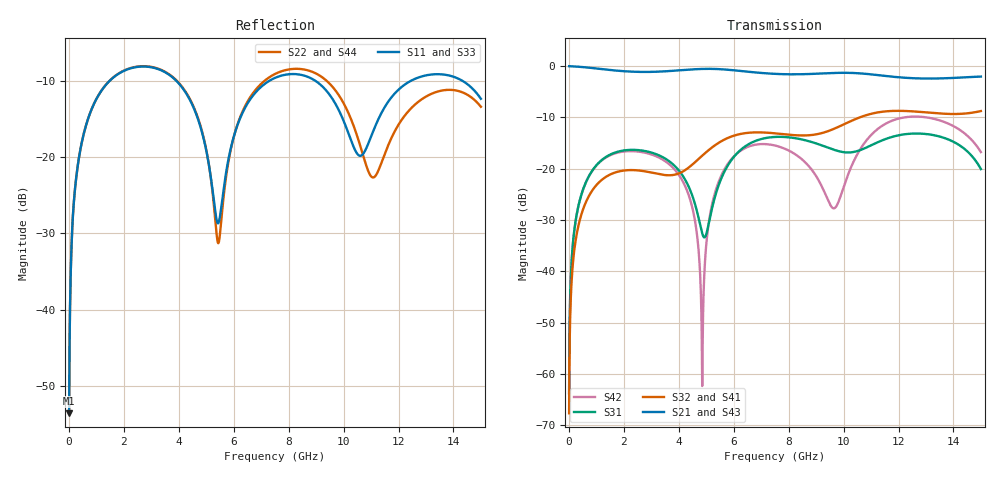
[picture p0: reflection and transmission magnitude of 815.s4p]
! Created with skrf 1.8.0 (http://scikit-rf.org).
# GHz S RI R 50.0
!freq ReS11 ImS11 ReS12 ImS12 ReS13 ImS13
! ReS14 ImS14
! ReS21 ImS21 ReS22 ImS22 ReS23 ImS23
! ReS24 ImS24
! ReS31 ImS31 ReS32 ImS32 ReS33 ImS33
! ReS34 ImS34
! ReS41 ImS41 ReS42 ImS42 ReS43 ImS43
! ReS44 ImS44
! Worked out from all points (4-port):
!   2499 points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, 5 MHz to 15 GHz, reference 50 ohm
!   strongest paths, dB at 5 MHz, 3.476 GHz, 7.19 GHz, 11.1 GHz, 15 GHz:
!     S21: 0.0, -1.0, -1.4, -1.7, -2.0
!     S43: 0.0, -1.0, -1.4, -1.7, -2.0
!     S32: -67.7, -21.2, -13.0, -9.2, -8.8
!     S41: -67.7, -21.3, -13.0, -9.2, -8.8
!     S31: -63.8, -17.9, -14.0, -15.2, -20.1
!     S42: -63.8, -18.4, -15.2, -12.9, -16.8
!   lowest |S11| = -53.6 dB at 5 MHz (marker M1), VSWR 1.00, Z = 50.2 + j0.126 ohm
!   |S11| at or under -10 dB: start of sweep to 1.469 GHz; 3.921 GHz to 7.276 GHz (3.354 GHz wide, 59.9 % of centre); 8.991 GHz to 12.43 GHz (3.437 GHz wide, 32.1 % of centre) (the widest 3 of 4)
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0.005  0.00165 0.00126  0.9983 -0.00322  8.27e-05 0.000641  -8.03e-05 -0.000404
       0.9983 -0.00322  0.00165 0.00126  -8.03e-05 -0.000404  8.25e-05 0.000641
       8.27e-05 0.000641  -8.03e-05 -0.000404  0.00165 0.00126  0.9983 -0.00322
       -8.03e-05 -0.000404  8.25e-05 0.000641  0.9983 -0.00322  0.00165 0.00126
0.3126303  0.0244 0.0828  0.9667 -0.2004  0.0112 0.0379  -0.00915 -0.0237
           0.9667 -0.2004  0.0244 0.0828  -0.00916 -0.0237  0.0107 0.0381
           0.0112 0.0379  -0.00916 -0.0237  0.0244 0.0828  0.9667 -0.2004
           -0.00915 -0.0237  0.0107 0.0381  0.9667 -0.2004  0.0245 0.0828
1.519383  0.2665 0.1818  0.5568 -0.7258  0.1262 0.0558  -0.0878 -0.00774
          0.5568 -0.7258  0.2686 0.1805  -0.0879 -0.00756  0.1196 0.0645
          0.1262 0.0558  -0.0879 -0.00756  0.2665 0.1819  0.5568 -0.7258
          -0.0878 -0.00774  0.1196 0.0645  0.5568 -0.7258  0.2687 0.1805
4.852022  0.0773 -0.1218  -0.858 -0.3796  -0.0199 -0.0123  -0.0513 0.1236
          -0.858 -0.3796  0.0694 -0.1289  -0.0488 0.1246  -0.000696 -0.000306
          -0.0199 -0.0123  -0.0488 0.1246  0.0782 -0.1218  -0.858 -0.3795
          -0.0513 0.1236  -0.000696 -0.000306  -0.858 -0.3795  0.0689 -0.1296
5.977491  0.0819 0.1033  -0.8779 0.247  0.0731 0.1047  0.0751 0.1943
          -0.8779 0.247  0.0748 0.1075  0.0788 0.1931  0.0619 0.1136
          0.0731 0.1047  0.0788 0.1931  0.0823 0.1027  -0.8778 0.2474
          0.0751 0.1943  0.0619 0.1136  -0.8778 0.2474  0.0745 0.1081
10.792  0.1072 0.0298  0.827 0.1546  -0.1193 0.1051  0.0651 -0.3235
        0.827 0.1546  0.0701 -0.0598  0.0533 -0.3259  0.0793 0.1646
        -0.1193 0.1051  0.0533 -0.3259  0.1108 0.0231  0.8267 0.1549
        0.0651 -0.3235  0.0793 0.1646  0.8267 0.1549  0.0715 -0.063
15  0.1862 -0.155  -0.389 -0.6879  0.0421 -0.0898  -0.3013 0.2005
    -0.389 -0.6879  0.1913 -0.0976  -0.2893 0.2219  0.0483 -0.1369
    0.0421 -0.0898  -0.2893 0.2219  0.1879 -0.1469  -0.3924 -0.6862
    -0.3013 0.2005  0.0483 -0.1369  -0.3924 -0.6862  0.1878 -0.1091
